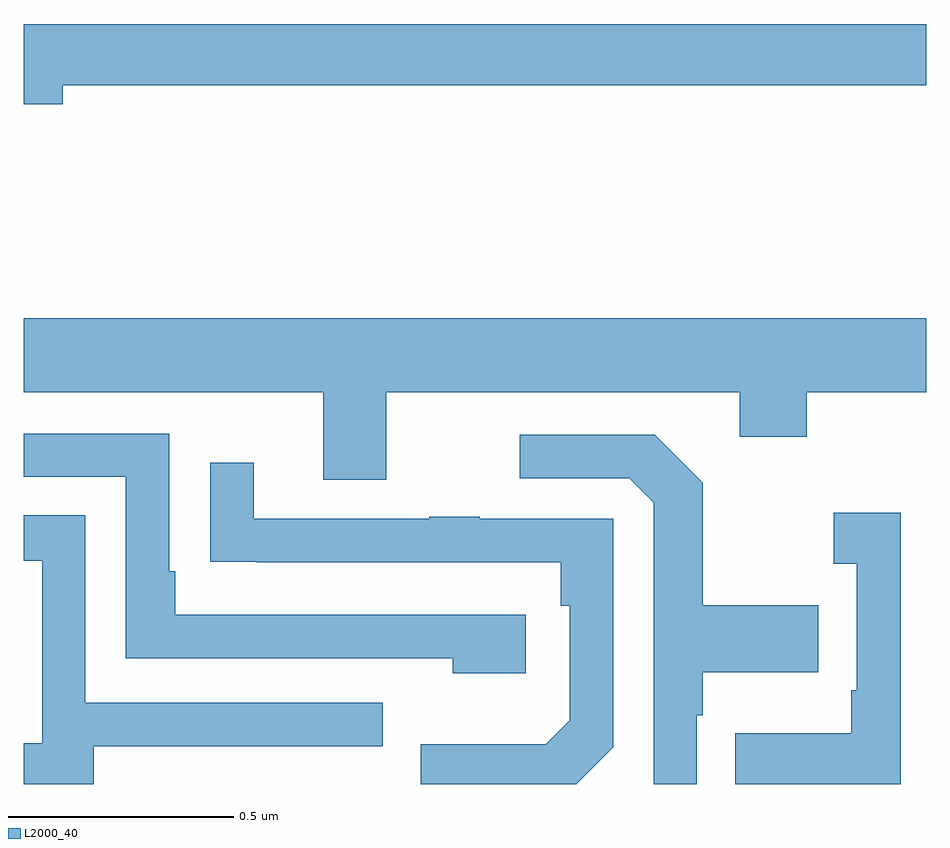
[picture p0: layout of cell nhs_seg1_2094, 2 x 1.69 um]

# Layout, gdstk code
import gdstk
lib = gdstk.Library(unit=1e-6, precision=1e-09)
def P(c, l, *ps):  # polygons
    for p in ps: c.add(gdstk.Polygon(p, *l))
L2000_40 = (2000, 40)

nhs_seg1_2094 = lib.new_cell('nhs_seg1_2094')
P(nhs_seg1_2094, L2000_40, [(137.086,549.748),(139,549.748),(139,549.884),(137,549.884),(137,549.706),(137.086,549.706)],
  [(137.803,549.068),(138.587,549.068),(138.587,548.969),(138.735,548.969),(138.735,549.068),(139,549.068),(139,549.232),(137,549.232),(137,549.068),(137.663,549.068),(137.663,548.874),(137.803,548.874)],
  [(138.112,548.574),(137.335,548.574),(137.335,548.671),(137.322,548.671),(137.322,548.976),(137,548.976),(137,548.88),(137.226,548.88),(137.226,548.478),(137.951,548.478),(137.951,548.444),(138.112,548.444)],
  [(138.492,548.351),(138.505,548.351),(138.505,548.447),(138.761,548.447),(138.761,548.595),(138.505,548.595),(138.505,548.867),(138.399,548.973),(138.099,548.973),(138.099,548.877),(138.342,548.877),(138.396,548.823),(138.396,548.199),(138.492,548.199)],
  [(138.306,548.28),(138.306,548.787),(138.011,548.787),(138.011,548.792),(137.899,548.792),(137.899,548.787),(137.509,548.787),(137.509,548.911),(137.413,548.911),(137.413,548.692),(137.515,548.692),(137.515,548.691),(138.19,548.691),(138.19,548.594),(138.21,548.594),(138.21,548.34),(138.157,548.287),(137.88,548.287),(137.88,548.199),(138.225,548.199)],
  [(138.944,548.8),(138.795,548.8),(138.795,548.687),(138.846,548.687),(138.846,548.407),(138.834,548.407),(138.834,548.311),(138.577,548.311),(138.577,548.199),(138.944,548.199)],
  [(137.155,548.283),(137.795,548.283),(137.795,548.379),(137.136,548.379),(137.136,548.795),(137,548.795),(137,548.694),(137.04,548.694),(137.04,548.289),(137,548.289),(137,548.199),(137.155,548.199)])

lib.write_gds('nhs_seg1_2094.gds')
